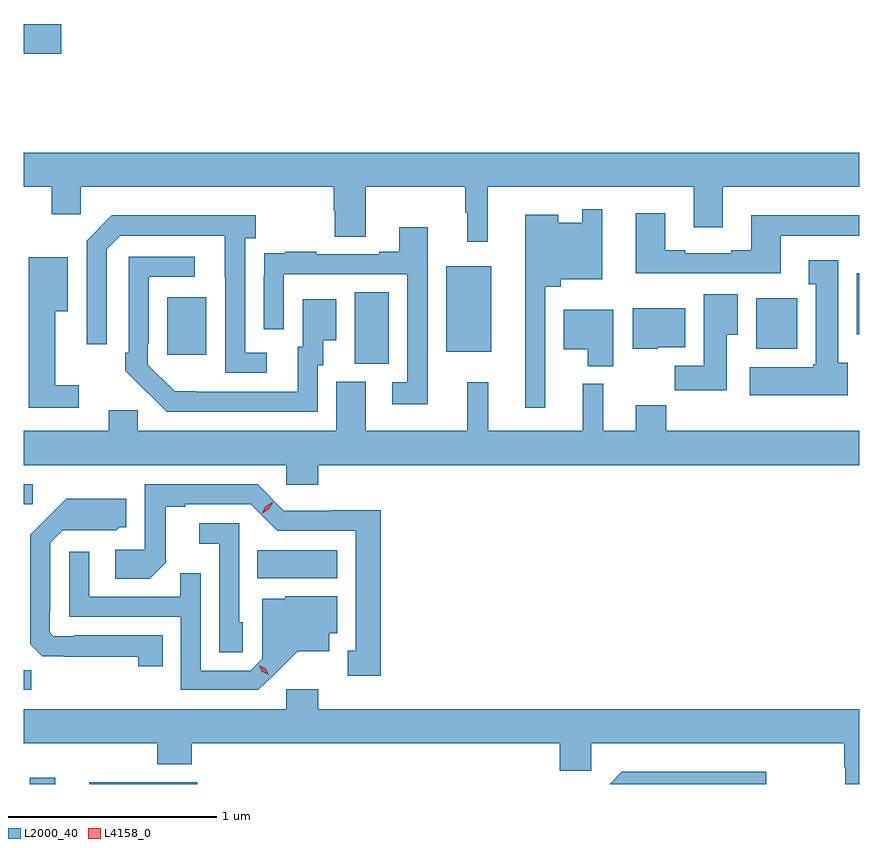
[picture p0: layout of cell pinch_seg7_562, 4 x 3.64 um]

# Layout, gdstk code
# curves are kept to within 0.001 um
import gdstk
lib = gdstk.Library(unit=1e-6, precision=1e-09)
def R(c, l, rs):  # rectangles x0, y0, x1, y1
    for r in rs: c.add(gdstk.rectangle(r[:2], r[2:], *l))
def P(c, l, *ps):  # polygons
    for p in ps: c.add(gdstk.Polygon(p, *l))
L2000_40 = (2000, 40)
L4158_0 = (4158, 0)

pinch_seg7_562 = lib.new_cell('pinch_seg7_562')
R(pinch_seg7_562, L2000_40, [(171.134,1044.378,171.256,1044.409), (171.417,1044.378,171.935,1044.386), (171.104,1044.828,171.141,1044.923), (172.222,1045.364,172.606,1045.498), (171.104,1045.716,171.148,1045.812), (172.688,1046.389,172.852,1046.732), (171.791,1046.433,171.979,1046.707), (173.126,1046.447,173.341,1046.857), (174.611,1046.462,174.808,1046.704), (175.091,1046.532,175.104,1046.824), (171.104,1047.874,171.283,1048.016)])
P(pinch_seg7_562, L2000_40, [(173.326,1047.236),(174.311,1047.236),(174.311,1047.042),(174.451,1047.042),(174.451,1047.236),(175.104,1047.236),(175.104,1047.4),(171.104,1047.4),(171.104,1047.236),(171.239,1047.236),(171.239,1047.105),(171.378,1047.105),(171.378,1047.236),(172.589,1047.236),(172.589,1047.123),(172.594,1047.123),(172.594,1046.998),(172.741,1046.998),(172.741,1047.236),(173.217,1047.236),(173.217,1047.113),(173.228,1047.113),(173.228,1046.973),(173.326,1046.973)],
  [(173.601,1046.759),(173.675,1046.759),(173.675,1046.795),(173.874,1046.795),(173.874,1047.13),(173.778,1047.13),(173.778,1047.064),(173.662,1047.064),(173.662,1047.103),(173.504,1047.103),(173.504,1046.178),(173.601,1046.178)],
  [(174.263,1046.823),(174.727,1046.823),(174.727,1047.003),(175.104,1047.003),(175.104,1047.1),(174.587,1047.1),(174.587,1046.932),(174.491,1046.932),(174.491,1046.919),(174.271,1046.919),(174.271,1046.932),(174.175,1046.932),(174.175,1047.109),(174.035,1047.109),(174.035,1046.822),(174.263,1046.822)],
  [(172.267,1046.442),(172.164,1046.442),(172.164,1046.99),(172.216,1046.99),(172.216,1047.1),(171.526,1047.1),(171.405,1046.979),(171.405,1046.484),(171.501,1046.484),(171.501,1046.937),(171.567,1047.003),(172.067,1047.003),(172.068,1046.346),(172.267,1046.346)],
  [(173.037,1047.043),(172.901,1047.043),(172.901,1046.926),(172.805,1046.926),(172.805,1046.913),(172.505,1046.913),(172.505,1046.926),(172.357,1046.926),(172.357,1046.919),(172.255,1046.919),(172.255,1046.81),(172.254,1046.81),(172.254,1046.555),(172.35,1046.555),(172.35,1046.817),(172.941,1046.817),(172.941,1046.301),(172.869,1046.301),(172.869,1046.196),(173.037,1046.196)],
  [(172.512,1046.382),(172.537,1046.382),(172.537,1046.501),(172.6,1046.501),(172.6,1046.698),(172.439,1046.698),(172.439,1046.472),(172.415,1046.472),(172.415,1046.256),(171.828,1046.257),(171.699,1046.385),(171.699,1046.485),(171.702,1046.485),(171.702,1046.805),(171.922,1046.805),(171.922,1046.901),(171.606,1046.901),(171.606,1046.443),(171.591,1046.443),(171.591,1046.355),(171.788,1046.16),(172.512,1046.16)],
  [(171.367,1046.287),(171.256,1046.287),(171.256,1046.642),(171.316,1046.642),(171.316,1046.899),(171.128,1046.899),(171.128,1046.178),(171.367,1046.178)],
  [(175.048,1046.394),(175.003,1046.394),(175.003,1046.884),(174.863,1046.884),(174.863,1046.771),(174.896,1046.771),(174.896,1046.388),(174.883,1046.388),(174.883,1046.374),(174.579,1046.374),(174.579,1046.24),(175.048,1046.24)],
  [(174.469,1046.528),(174.523,1046.528),(174.523,1046.722),(174.359,1046.722),(174.359,1046.38),(174.22,1046.38),(174.22,1046.262),(174.469,1046.262)],
  [(174.138,1046.468),(174.271,1046.468),(174.271,1046.656),(174.02,1046.656),(174.02,1046.462),(174.138,1046.462)],
  [(173.926,1046.647),(173.69,1046.647),(173.69,1046.459),(173.804,1046.459),(173.804,1046.378),(173.926,1046.378)],
  [(172.514,1045.904),(175.104,1045.904),(175.104,1046.068),(174.179,1046.068),(174.179,1046.192),(174.035,1046.192),(174.035,1046.068),(173.878,1046.068),(173.878,1046.293),(173.78,1046.293),(173.78,1046.068),(173.327,1046.068),(173.327,1046.302),(173.228,1046.302),(173.228,1046.068),(172.741,1046.068),(172.741,1046.304),(172.601,1046.304),(172.601,1046.068),(171.651,1046.068),(171.651,1046.166),(171.512,1046.166),(171.512,1046.068),(171.104,1046.068),(171.104,1045.904),(172.362,1045.904),(172.362,1045.811),(172.514,1045.811)],
  [(172.813,1045.688),(172.572,1045.688),(172.572,1045.686),(172.35,1045.686),(172.224,1045.812),(171.684,1045.812),(171.684,1045.5),(171.543,1045.5),(171.543,1045.36),(171.707,1045.36),(171.783,1045.436),(171.783,1045.704),(171.877,1045.704),(171.877,1045.716),(172.191,1045.716),(172.317,1045.59),(172.694,1045.59),(172.694,1045.017),(172.655,1045.017),(172.655,1044.897),(172.813,1044.897)],
  [(171.77,1045.089),(171.346,1045.089),(171.346,1045.086),(171.246,1045.086),(171.228,1045.104),(171.228,1045.204),(171.231,1045.204),(171.231,1045.533),(171.291,1045.593),(171.548,1045.592),(171.564,1045.608),(171.595,1045.608),(171.595,1045.744),(171.307,1045.744),(171.135,1045.57),(171.135,1045.048),(171.194,1044.989),(171.652,1044.988),(171.652,1044.942),(171.77,1044.942)],
  [(172.152,1045.152),(172.137,1045.152),(172.137,1045.626),(171.945,1045.626),(171.945,1045.529),(172.041,1045.529),(172.041,1045.009),(172.152,1045.009)],
  [(172.312,1044.911),(172.415,1045.013),(172.567,1045.013),(172.567,1045.1),(172.606,1045.1),(172.606,1045.276),(172.356,1045.276),(172.356,1045.264),(172.245,1045.264),(172.245,1044.978),(172.188,1044.921),(171.951,1044.921),(171.951,1045.388),(171.853,1045.388),(171.853,1045.275),(171.417,1045.275),(171.417,1045.489),(171.321,1045.489),(171.321,1045.179),(171.855,1045.179),(171.855,1044.828),(172.228,1044.828)],
  [(175.104,1044.736),(172.514,1044.736),(172.514,1044.832),(172.362,1044.832),(172.362,1044.736),(171.104,1044.736),(171.104,1044.572),(171.743,1044.572),(171.743,1044.473),(171.908,1044.473),(171.908,1044.572),(173.669,1044.572),(173.669,1044.441),(173.82,1044.441),(173.82,1044.572),(175.031,1044.572),(175.031,1044.459),(175.036,1044.459),(175.036,1044.378),(175.104,1044.378)],
  [(174.658,1044.436),(173.968,1044.436),(173.91,1044.378),(174.658,1044.378)])
P(pinch_seg7_562, L4158_0, [(172.278,1044.901),(172.247,1044.916),(172.229,1044.946),(172.229,1044.946),(172.23,1044.946),(172.261,1044.931),(172.278,1044.902),(172.278,1044.901)],
  [(172.245,1045.675),(172.245,1045.676),(172.263,1045.708),(172.295,1045.726),(172.296,1045.726),(172.296,1045.725),(172.277,1045.693),(172.245,1045.675)])

lib.write_gds('pinch_seg7_562.gds')
